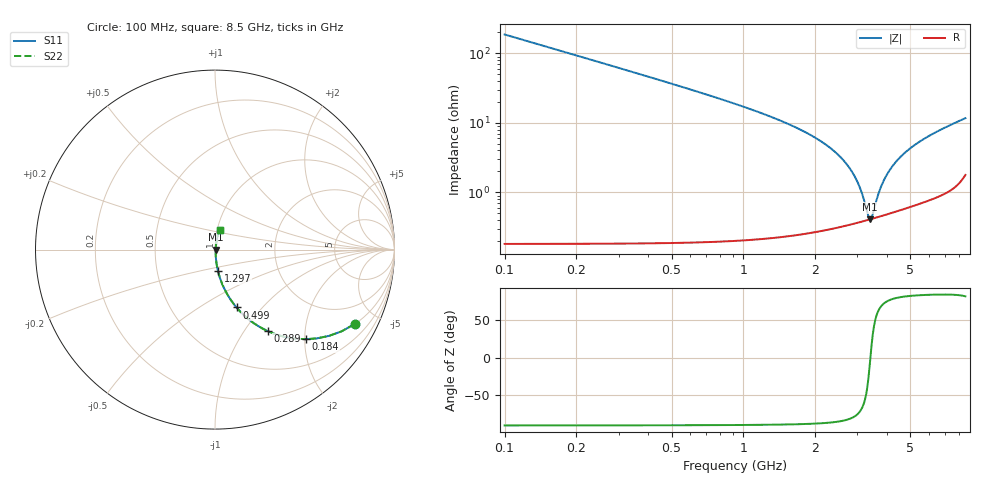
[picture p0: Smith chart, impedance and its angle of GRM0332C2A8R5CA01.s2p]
!Murata Part Number: GRM0332C2A8R5CA01
!These Parameters are Measured in Series Mode Connection
!Data Generated on Mar 30, 2021
!  o--ll--o
!Port1  Port2
!  o------o
!Operation Temp=25[degC], DC Bias Voltage=0[V]
!Freq. Start=100[MHz] Stop=9[GHz] 401[Steps]
# Hz S RI R 50
!Freq.(Hz) S11(Real) S11(Imag) S21(Real) S21(Imag) S12(Real) S12(Imag) S22(Real) S22(Imag)
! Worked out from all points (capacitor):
!   401 points, 100 MHz to 8.5 GHz, reference 50 ohm
!   read as one part in series: C = 8.5 pF near 142 MHz
!   lowest |Z| = 409 mohm at 3.397 GHz (marker M1)
!   series resonance near 3.402 GHz, so ESL is about 260 pH
!   S11 on the Smith chart (normalised r, x): 100 MHz: 1.00, -3.74; 184 MHz: 1.00, -2.03; 289 MHz: 1.00, -1.29; 499 MHz: 1.00, -0.73; 1.297 GHz: 1.00, -0.25; 8.5 GHz: 1.04, +0.23
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1e8  0.7775 -0.4154  0.2225 0.4154  0.2225 0.4154  0.7775 -0.4154
1.84e8  0.5072 -0.4991  0.4928 0.4991  0.4928 0.4991  0.5072 -0.4991
2.89e8  0.2931 -0.4538  0.7069 0.4538  0.7069 0.4538  0.2931 -0.4538
3.73e8  0.1983 -0.3968  0.8017 0.3968  0.8017 0.3968  0.1983 -0.3968
4.99e8  0.12 -0.3224  0.88 0.3224  0.88 0.3224  0.12 -0.3224
8.35e8  0.0442 -0.2009  0.9558 0.2009  0.9558 0.2009  0.0442 -0.2009
1.297e9  0.017 -0.1208  0.983 0.1208  0.983 0.1208  0.017 -0.1208
1.507e9  0.0121 -0.0982  0.9879 0.0982  0.9879 0.0982  0.0121 -0.0982
2.41e9  0.00449 -0.0382  0.9955 0.0382  0.9955 0.0382  0.00449 -0.0382
2.914e9  0.00382 -0.0168  0.9962 0.0168  0.9962 0.0168  0.00382 -0.0168
3.124e9  0.00385 -0.00923  0.9962 0.00923  0.9962 0.00923  0.00385 -0.00923
3.334e9  0.004 -0.00217  0.996 0.00217  0.996 0.00217  0.004 -0.00217
3.397e9  0.00407 -0.000147  0.9959 0.000147  0.9959 0.000147  0.00407 -0.000147
3.46e9  0.00415 0.00184  0.9959 -0.00184  0.9959 -0.00184  0.00415 0.00184
3.649e9  0.00443 0.00758  0.9956 -0.00758  0.9956 -0.00758  0.00443 0.00758
3.817e9  0.00473 0.0124  0.9953 -0.0124  0.9953 -0.0124  0.00473 0.0124
4.027e9  0.00517 0.0182  0.9948 -0.0182  0.9948 -0.0182  0.00517 0.0182
4.3e9  0.00583 0.0254  0.9942 -0.0254  0.9942 -0.0254  0.00583 0.0254
4.888e9  0.00754 0.0396  0.9925 -0.0396  0.9925 -0.0396  0.00754 0.0396
5.707e9  0.0105 0.0574  0.9895 -0.0574  0.9895 -0.0574  0.0105 0.0574
7.114e9  0.0172 0.0853  0.9828 -0.0853  0.9828 -0.0853  0.0172 0.0853
8.5e9  0.0299 0.1099  0.9701 -0.1099  0.9701 -0.1099  0.0299 0.1099
